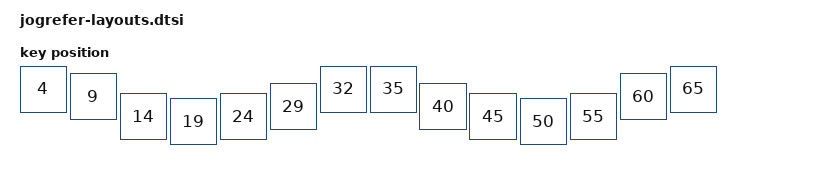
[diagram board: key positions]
#include <physical_layouts.dtsi>

/ {
    physical_layout0: physical_layout_0 {
        compatible = "zmk,physical-layout";
        display-name = "Default";

        keys  //                     w   h    x    y     rot    rx    ry
            = <&key_physical_attrs 100 100    0    0      0     0     0>
            , <&key_physical_attrs 100 100    0    0      0     0     0>
            , <&key_physical_attrs 100 100    0    0      0     0     0>
            , <&key_physical_attrs 100 100    0    0      0     0     0>
            , <&key_physical_attrs 100 100    0    0      0     0     0>

            , <&key_physical_attrs 100 100  100   15      0     0     0>
            , <&key_physical_attrs 100 100  100   15      0     0     0>
            , <&key_physical_attrs 100 100  100   15      0     0     0>
            , <&key_physical_attrs 100 100  100   15      0     0     0>
            , <&key_physical_attrs 100 100  100   15      0     0     0>

            , <&key_physical_attrs 100 100  200   55      0     0     0>
            , <&key_physical_attrs 100 100  200   55      0     0     0>
            , <&key_physical_attrs 100 100  200   55      0     0     0>
            , <&key_physical_attrs 100 100  200   55      0     0     0>
            , <&key_physical_attrs 100 100  200   55      0     0     0>

            , <&key_physical_attrs 100 100  300   65      0     0     0>
            , <&key_physical_attrs 100 100  300   65      0     0     0>
            , <&key_physical_attrs 100 100  300   65      0     0     0>
            , <&key_physical_attrs 100 100  300   65      0     0     0>
            , <&key_physical_attrs 100 100  300   65      0     0     0>

            , <&key_physical_attrs 100 100  400   55      0     0     0>
            , <&key_physical_attrs 100 100  400   55      0     0     0>
            , <&key_physical_attrs 100 100  400   55      0     0     0>
            , <&key_physical_attrs 100 100  400   55      0     0     0>
            , <&key_physical_attrs 100 100  400   55      0     0     0>

            , <&key_physical_attrs 100 100  500   35      0     0     0>
            , <&key_physical_attrs 100 100  500   35      0     0     0>
            , <&key_physical_attrs 100 100  500   35      0     0     0>
            , <&key_physical_attrs 100 100  500   35      0     0     0>
            , <&key_physical_attrs 100 100  500   35      0     0     0>

            , <&key_physical_attrs 100 100  600  0       0     0     0>
            , <&key_physical_attrs 100 100  600  0       0     0     0>
            , <&key_physical_attrs 100 100  600  0       0     0     0>

            , <&key_physical_attrs 100 100  700  0       0     0     0>
            , <&key_physical_attrs 100 100  700  0       0     0     0>
            , <&key_physical_attrs 100 100  700  0       0     0     0>

            , <&key_physical_attrs 100 100  800   35     0     0     0>
            , <&key_physical_attrs 100 100  800   35     0     0     0>
            , <&key_physical_attrs 100 100  800   35     0     0     0>
            , <&key_physical_attrs 100 100  800   35     0     0     0>
            , <&key_physical_attrs 100 100  800   35     0     0     0>

            , <&key_physical_attrs 100 100  900  55       0     0     0>
            , <&key_physical_attrs 100 100  900  55       0     0     0>
            , <&key_physical_attrs 100 100  900  55       0     0     0>
            , <&key_physical_attrs 100 100  900  55       0     0     0>
            , <&key_physical_attrs 100 100  900  55       0     0     0>

            , <&key_physical_attrs 100 100  1000  65       0     0     0>
            , <&key_physical_attrs 100 100  1000  65       0     0     0>
            , <&key_physical_attrs 100 100  1000  65       0     0     0>
            , <&key_physical_attrs 100 100  1000  65       0     0     0>
            , <&key_physical_attrs 100 100  1000  65       0     0     0>

            , <&key_physical_attrs 100 100  1100  55      0     0     0>
            , <&key_physical_attrs 100 100  1100  55      0     0     0>
            , <&key_physical_attrs 100 100  1100  55      0     0     0>
            , <&key_physical_attrs 100 100  1100  55      0     0     0>
            , <&key_physical_attrs 100 100  1100  55      0     0     0>

            , <&key_physical_attrs 100 100  1200  15      0     0     0>
            , <&key_physical_attrs 100 100  1200  15      0     0     0>
            , <&key_physical_attrs 100 100  1200  15      0     0     0>
            , <&key_physical_attrs 100 100  1200  15      0     0     0>
            , <&key_physical_attrs 100 100  1200  15      0     0     0>

            , <&key_physical_attrs 100 100  1300  0       0     0     0>
            , <&key_physical_attrs 100 100  1300  0       0     0     0>
            , <&key_physical_attrs 100 100  1300  0       0     0     0>
            , <&key_physical_attrs 100 100  1300  0       0     0     0>
            , <&key_physical_attrs 100 100  1300  0       0     0     0>
            ;
    };
};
